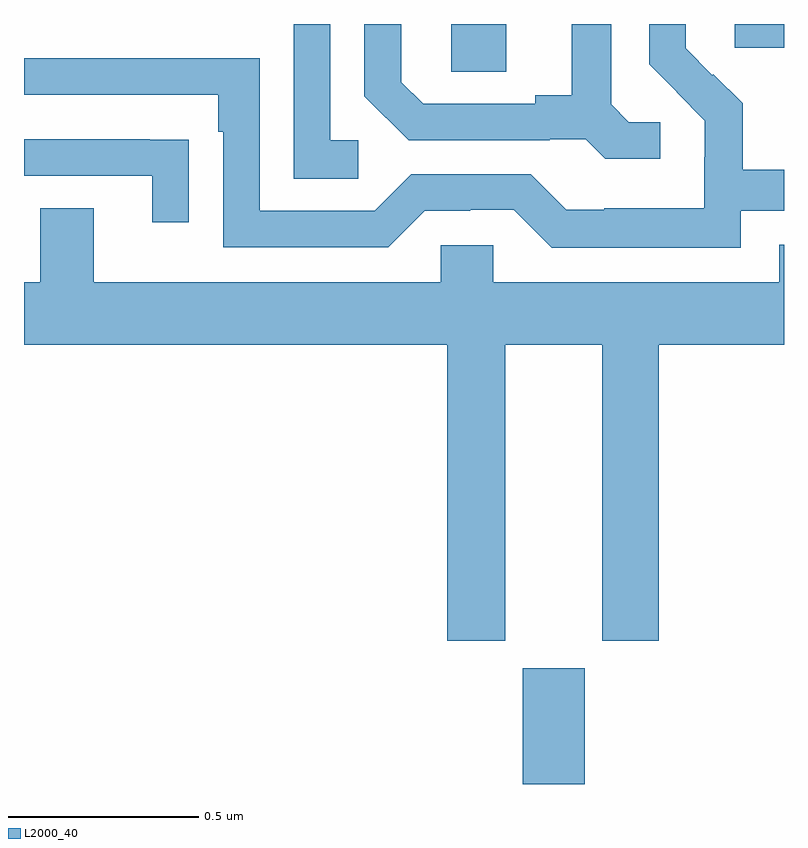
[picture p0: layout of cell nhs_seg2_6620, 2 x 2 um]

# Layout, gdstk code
import gdstk
lib = gdstk.Library(unit=1e-6, precision=1e-09)
def R(c, l, rs):  # rectangles x0, y0, x1, y1
    for r in rs: c.add(gdstk.rectangle(r[:2], r[2:], *l))
def P(c, l, *ps):  # polygons
    for p in ps: c.add(gdstk.Polygon(p, *l))
L2000_40 = (2000, 40)

nhs_seg2_6620 = lib.new_cell('nhs_seg2_6620')
R(nhs_seg2_6620, L2000_40, [(194.312,659.8,194.476,660.105), (194.124,661.675,194.269,661.8), (194.87,661.737,195,661.8)])
P(nhs_seg2_6620, L2000_40, [(194.886,661.308),(195,661.308),(195,661.417),(194.891,661.417),(194.891,661.591),(194.814,661.668),(194.811,661.665),(194.741,661.736),(194.741,661.8),(194.646,661.8),(194.646,661.694),(194.719,661.621),(194.718,661.62),(194.792,661.546),(194.792,661.449),(194.79,661.449),(194.79,661.315),(194.527,661.315),(194.527,661.311),(194.427,661.311),(194.334,661.404),(194.019,661.404),(193.923,661.308),(193.62,661.308),(193.62,661.71),(193,661.71),(193,661.614),(193.511,661.614),(193.511,661.517),(193.524,661.517),(193.524,661.212),(193.959,661.212),(194.055,661.308),(194.174,661.308),(194.174,661.311),(194.289,661.311),(194.389,661.211),(194.886,661.211)],
  [(194.674,661.542),(194.592,661.542),(194.545,661.589),(194.545,661.8),(194.441,661.8),(194.441,661.613),(194.345,661.613),(194.345,661.59),(194.05,661.59),(193.993,661.647),(193.993,661.8),(193.896,661.8),(193.896,661.61),(194.012,661.494),(194.384,661.494),(194.384,661.497),(194.478,661.497),(194.53,661.445),(194.674,661.445)],
  [(193.879,661.494),(193.806,661.494),(193.806,661.8),(193.71,661.8),(193.71,661.393),(193.879,661.393)],
  [(193.433,661.496),(193.331,661.496),(193.331,661.497),(193,661.497),(193,661.401),(193.337,661.401),(193.337,661.278),(193.433,661.278)],
  [(194.266,660.956),(194.522,660.956),(194.522,660.177),(194.67,660.177),(194.67,660.956),(195,660.956),(195,661.219),(194.987,661.219),(194.987,661.12),(194.235,661.12),(194.235,661.218),(194.097,661.218),(194.097,661.12),(193.183,661.12),(193.183,661.315),(193.043,661.315),(193.043,661.12),(193,661.12),(193,660.956),(194.114,660.956),(194.114,660.177),(194.266,660.177)])

lib.write_gds('nhs_seg2_6620.gds')
